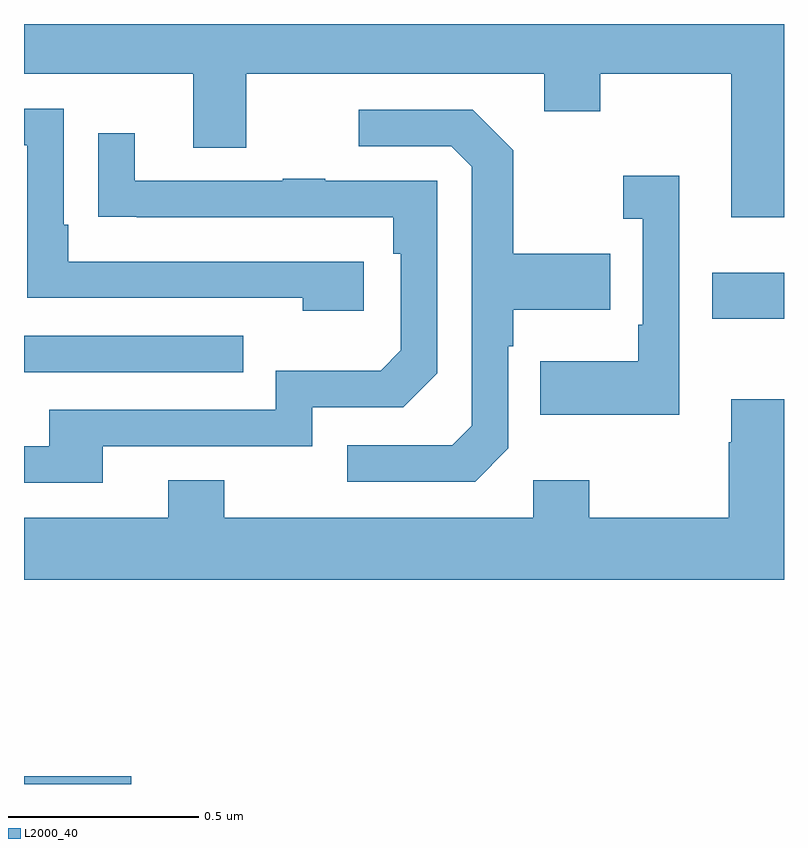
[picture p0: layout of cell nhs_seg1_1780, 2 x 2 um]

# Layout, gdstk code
import gdstk
lib = gdstk.Library(unit=1e-6, precision=1e-09)
def R(c, l, rs):  # rectangles x0, y0, x1, y1
    for r in rs: c.add(gdstk.rectangle(r[:2], r[2:], *l))
def P(c, l, *ps):  # polygons
    for p in ps: c.add(gdstk.Polygon(p, *l))
L2000_40 = (2000, 40)

nhs_seg1_1780 = lib.new_cell('nhs_seg1_1780')
R(nhs_seg1_1780, L2000_40, [(133,547.199,133.282,547.22), (133,548.283,133.577,548.379), (134.811,548.423,135,548.545)])
P(nhs_seg1_1780, L2000_40, [(135,549.199),(133,549.199),(133,549.068),(133.445,549.068),(133.445,548.874),(133.585,548.874),(133.585,549.068),(134.369,549.068),(134.369,548.969),(134.517,548.969),(134.517,549.068),(134.861,549.068),(134.861,548.691),(135,548.691)],
  [(133.894,548.574),(133.117,548.574),(133.117,548.671),(133.104,548.671),(133.104,548.976),(133,548.976),(133,548.88),(133.008,548.88),(133.008,548.478),(133.733,548.478),(133.733,548.444),(133.894,548.444)],
  [(134.274,548.082),(134.274,548.351),(134.287,548.351),(134.287,548.447),(134.543,548.447),(134.543,548.595),(134.287,548.595),(134.287,548.867),(134.181,548.973),(133.881,548.973),(133.881,548.877),(134.124,548.877),(134.178,548.823),(134.178,548.142),(134.127,548.091),(133.851,548.091),(133.851,547.995),(134.187,547.995)],
  [(133.207,548.088),(133.758,548.088),(133.758,548.19),(133.998,548.19),(134.088,548.28),(134.088,548.787),(133.793,548.787),(133.793,548.792),(133.681,548.792),(133.681,548.787),(133.291,548.787),(133.291,548.911),(133.195,548.911),(133.195,548.692),(133.297,548.692),(133.297,548.691),(133.972,548.691),(133.972,548.594),(133.992,548.594),(133.992,548.34),(133.939,548.287),(133.662,548.287),(133.662,548.184),(133.067,548.184),(133.067,548.088),(133,548.088),(133,547.992),(133.207,547.992)],
  [(134.724,548.8),(134.577,548.8),(134.577,548.687),(134.628,548.687),(134.628,548.407),(134.616,548.407),(134.616,548.311),(134.359,548.311),(134.359,548.171),(134.724,548.171)],
  [(135,548.212),(134.861,548.212),(134.861,548.099),(134.854,548.099),(134.854,547.9),(134.487,547.9),(134.487,547.999),(134.34,547.999),(134.34,547.9),(133.527,547.9),(133.527,547.999),(133.379,547.999),(133.379,547.9),(133,547.9),(133,547.736),(135,547.736)])

lib.write_gds('nhs_seg1_1780.gds')
